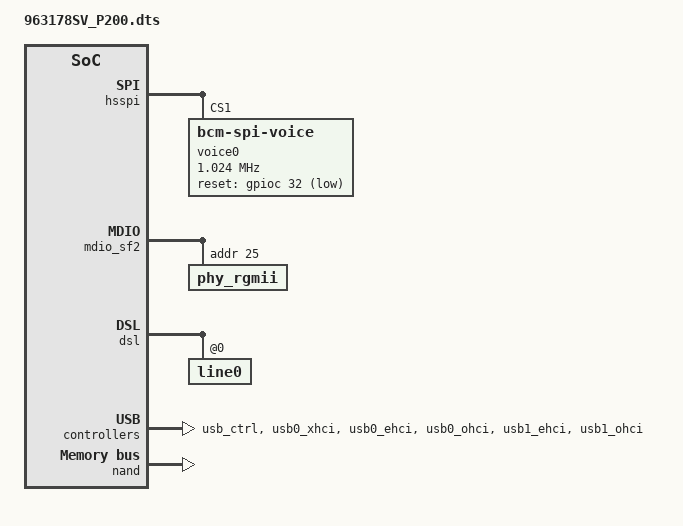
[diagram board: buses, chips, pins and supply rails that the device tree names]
#include "63178.dtsi"
#include "../bcm_voice.dtsi"

/ {
    memory_controller {
        memcfg = <(BP_DDR_SPEED_800_11_11_11 | \
                   BP_DDR_TOTAL_SIZE_512MB   | \
                   BP_DDR_DEVICE_WIDTH_16    | \
                   BP_DDR_TOTAL_WIDTH_16BIT  | \
                   BP_DDR_63178_DEFAULT)>;
    };

	buttons {
		compatible = "brcm,buttons";
		reset_button {
			ext_irq = <&bca_extintr 0 GPIO_ACTIVE_LOW (BCA_EXTINTR_TYPE_LOW_LEVEL | BCA_EXTINTR_TYPE_SENSE_EDGE)>;
			press {
				print = "Button Press -- Hold for 5s to do restore to default";
			};
			hold {
				rst_to_dflt = <5>;
			};
			release {
				reset = <0>;
			};	
		};
		ses_button {
			ext_irq = <&bca_extintr 1 GPIO_ACTIVE_LOW (BCA_EXTINTR_TYPE_LOW_LEVEL | BCA_EXTINTR_TYPE_SENSE_EDGE)>;
			release {
				ses_short_period = <0>;
				ses_long_period = <3>;
			};
		};
	};
};

&bcm_voice{
	sliclist = SLICSLAC_LIST_COMMON_NOFXO;
 };

&hsspi {
	voice0 {
		pinctrl-0 = <&spim_ss1_b_pin_80>;
		pinctrl-names = "default";
		compatible = "bcm-spi-voice";
		reg = <1>; /* chip select 1 */
		spi-max-frequency = <1024000>;
		reset-gpio = <&gpioc 32 GPIO_ACTIVE_LOW>;
		spi-index = <0>;/* voice header index */
	};	
};
&mdio_sf2 {
    /* Port PHY mapping:
            port_imp -8#0- port_gphy0 <--> phy_gphy0
                      # 1- port_gphy1 <--> phy_gphy1
                      # 2- port_gphy2 <--> phy_gphy2
                      # 3- port_gphy3 <--> phy_gphy3
                      # 4- port_gphy4 <--> phy_gphy4
                      ##5- port_rgmii <--> phy_rgmii
    */
	phy_rgmii {
		reg = <25>;
		status = "okay";
	};
};

&switch0 {
	pinctrl-names = "default", "rgmii"; 
	pinctrl-0 = <&rgmii_mdc_pin_72 &rgmii_mdio_pin_73 &rgmii_pins>; 
	pinctrl-1 = <&rgmii_pins>; 

	ports {
		port_gphy0 {
			network-leds = <&led0 &led15>;
			status = "okay";
		};

		port_gphy1 {
			network-leds = <&led2 &led16>;
			status = "okay";
		};

		port_gphy2 {
			network-leds = <&led4 &led17>;
			status = "okay";
		};

		port_gphy3 {
			network-leds = <&led6 &led18>;
			status = "okay";
		};

		port_gphy4 {
			network-leds = <&led8 &led19>;
			status = "okay";
		};
		port_rgmii {
			mii-pinctrl-state = "rgmii";
			rgmii-1p8v;
			gmii-direct;
			status = "okay";
		};
	};
};

&legacy_leds {
	adsl-led = <&led22>;
	wan-data-led = <&led30>;
	voip1-ok-led = <&led24>;
	voip2-ok-led = <&led25>;
	wl-sess-led = <&led21>;
	wl0-led = <&led20>;
};

&led_ctrl {
    pinctrl-names = "default";
    pinctrl-0 = <&b_ser_led_clk_pin_27 &b_ser_led_data_pin_26 &b_ser_led_mask_pin_28>;
    serial-shifters-installed = <4>;
    serial-data-polarity-high;
    led0: port_0-led_0-bit_0 {
        active_high;
        link = <(LED_SPEED_100|LED_SPEED_1G)>;
        status = "okay";
    };
    led1: sw_led-bit_1 {
        active_low;
        status = "okay";
    };
    led2: port_1-led_0-bit_2 {
        active_high;
        link = <(LED_SPEED_100|LED_SPEED_1G)>;
        status = "okay";
    };
    led3: sw_led-bit_3 {
        active_low;
        status = "okay";
    };
    led4: port_2-led_0-bit_4 {
        active_high;
        link = <(LED_SPEED_100|LED_SPEED_1G)>;
        status = "okay";
    };
    led5: sw_led-bit_5 {
        active_low;
        status = "okay";
    };
    led6: port_3-led_0-bit_6 {
        active_high;
        link = <(LED_SPEED_100|LED_SPEED_1G)>;
        status = "okay";
    };
    led7: sw_led-bit_7 {
        active_low;
        status = "okay";
    };
    led8: port_4-led_0-bit_8 {
        active_high;
        link = <(LED_SPEED_100|LED_SPEED_1G)>;
        status = "okay";
    };
    led9: sw_led-bit_9 {
        active_low;
        status = "okay";
    };
    led10: sw_led-bit_10 {
        active_low;
        status = "okay";
    };
    led11: sw_led-bit_11 {
        active_low;
        status = "okay";
    };
    led12: sw_led-bit_12 {
        active_low;
        status = "okay";
    };
    led13: sw_led-bit_13 {
        active_low;
        status = "okay";
    };
    led14: sw_led-bit_14 {
        active_low;
        status = "okay";
    };
    led15: port_0-led_3-bit_15 {
        active_high;
        activity = <LED_SPEED_GBE>;
        status = "okay";
    };
    led16: port_1-led_3-bit_16 {
        active_high;
        activity = <LED_SPEED_GBE>;
        status = "okay";
    };
    led17: port_2-led_3-bit_17 {
        active_high;
        activity = <LED_SPEED_GBE>;
        status = "okay";
    };
    led18: port_3-led_3-bit_18 {
        active_high;
        activity = <LED_SPEED_GBE>;
        status = "okay";
    };
    led19: port_4-led_3-bit_19 {
        active_high;
        activity = <LED_SPEED_GBE>;
        status = "okay";
    };
    led20: sw_led-bit_20 {
        active_high;
        status = "okay";
    };
    led21: sw_led-bit_21 {
        active_high;
        status = "okay";
    };
    led22: sw_led-bit_22 {
        active_high;
        status = "okay";
    };
    led23: dsl_act_0-bit_23 {
        active_high;
        status = "okay";
    };
    led24: sw_led-bit_24 {
        active_high;
        status = "okay";
    };
    led25: sw_led-bit_25 {
        active_high;
        status = "okay";
    };
    led26: sw_led-bit_26 {
        active_low;
        status = "okay";
    };
    led27: sw_led-bit_27 {
        active_low;
        status = "okay";
    };
    led28: sw_led-bit_28 {
        active_low;
        status = "okay";
    };
    led29: sw_led-bit_29 {
        active_low;
        status = "okay";
    };
    led30: sw_led-bit_30 {
        active_low;
        status = "okay";
    };
};

&dsl {
	line0@0 {
		pinctrl-0 = <&vdsl_ctrl_0_pin_17 &vdsl_ctrl_1_pin_18 &vdsl_ctrl_2_pin_19>;
		pinctrl-names = "default";

		afeid = <(DSL_AFE_CHIP_CH0 | DSL_AFE_LD_6303 | DSL_AFE_FE_ANNEXA | DSL_AFE_FE_REV_6303_REV_12_3_70)>;
		afe-pwr-ctl = <DSL_AFE_VDSLCTL_0>;
		afe-data-ctl = <DSL_AFE_VDSLCTL_1>;
		afe-clk-ctl = <DSL_AFE_VDSLCTL_2>;
		status = "okay";
	};
};

&hs_uart0 {
	pinctrl-0 = <&b_hs_uart_cts_pin_22 &b_hs_uart_rts_pin_12 &b_hs_uart_sin_pin_21 &b_hs_uart_sout_pin_20>;
	pinctrl-names = "default";
};

&usb_ctrl {
	pinctrl-names="default";
	pinctrl-0 = <&usb0a_pwrflt_pin_83 &usb0a_pwron_pin_84 &usb1a_pwrflt_pin_85 &usb1a_pwron_pin_86>;
	status = "okay";
	xhci-enable;
};

&usb0_xhci {
	status = "okay";
};

&usb0_ehci {
	status = "okay";
};

&usb0_ohci {
	status = "okay";
};

&usb1_ehci {
	status = "okay";
};

&usb1_ohci {
	status = "okay";
};

&nand {
	status = "okay";
};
